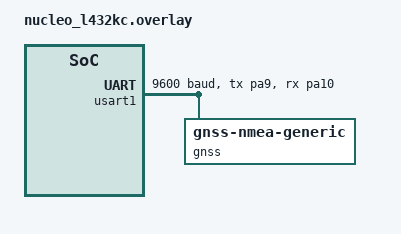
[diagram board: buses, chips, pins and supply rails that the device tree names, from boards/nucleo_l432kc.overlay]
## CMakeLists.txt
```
# SPDX-License-Identifier: Apache-2.0

cmake_minimum_required(VERSION 3.20.0)
find_package(Zephyr REQUIRED HINTS $ENV{ZEPHYR_BASE})
project(passthrough)

target_sources(app PRIVATE 
    src/main.c
    src/gps_config.c
    src/data_handler.c
    src/command_parser.c
)
```

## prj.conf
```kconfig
CONFIG_SERIAL=y
CONFIG_RING_BUFFER=y
CONFIG_UART_INTERRUPT_DRIVEN=y

CONFIG_GNSS=y
CONFIG_GNSS_SATELLITES=y

# Enable FPU
CONFIG_FPU=y
CONFIG_FPU_SHARING=y

CONFIG_CBPRINTF_FP_SUPPORT=y
CONFIG_NEWLIB_LIBC=y
CONFIG_NEWLIB_LIBC_FLOAT_PRINTF=y

# Console configuration
CONFIG_CONSOLE=y
CONFIG_UART_CONSOLE=y
CONFIG_CONSOLE_GETCHAR=y
CONFIG_CONSOLE_PUTCHAR_BUFSIZE=128

# POSIX API
CONFIG_POSIX_API=y



# CONFIG_LOG=y
# CONFIG_LOG_MODE_IMMEDIATE=y
# CONFIG_LOG_MODE_DEFERRED=n
# CONFIG_LOG_BUFFER_SIZE=8192

CONFIG_GNSS_DUMP_TO_LOG=n
CONFIG_GNSS_LOG_LEVEL_DBG=y
# CONFIG_MAIN_STACK_SIZE=4096
```

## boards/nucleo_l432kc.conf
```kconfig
CONFIG_UART_BITBANG=y
```

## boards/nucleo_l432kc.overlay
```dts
/ {
	aliases {
		gnss = &gnss;
        gps-usart = &usart1;
	};
};

&usart1 { 
    pinctrl-0 = <&usart1_tx_pa9 &usart1_rx_pa10>; 
    pinctrl-names = "default"; 
    current-speed = <9600>; 
    status = "okay";
    gnss: gnss {
        compatible = "gnss-nmea-generic";
        status = "okay";

    };
};
```

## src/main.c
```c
#include <zephyr/kernel.h>
#include <zephyr/device.h>
#include <zephyr/drivers/gnss.h>
#include <zephyr/logging/log.h>
#include <stdio.h>

#include "data_handler.h"
#include "gps_config.h"
#include "command_parser.h"

LOG_MODULE_REGISTER(main, LOG_LEVEL_DBG);

static void gnss_data_cb(const struct device *dev, const struct gnss_data *data)
{
    if (data->info.fix_status != GNSS_FIX_STATUS_NO_FIX) {
        // Update GPS data
        struct gps_data g_data = {
            data->nav_data.speed,
            data->nav_data.bearing,
            data->utc.hour,
            data->utc.minute,
            data->utc.millisecond,
            data->nav_data.latitude,
            data->nav_data.longitude,
            true,
            true
        };
        set_gps_data(g_data);
        
        // Stream if enabled
        if (command_parser_is_streaming()) {
            printk("%02u:%02u:%02u.%03u sog: %u.%03u m/s, cog: %u.%03u deg\n",
                    g_data.hour, g_data.minute,
                    g_data.millisecond / 1000, g_data.millisecond % 1000,
                    g_data.sog / 1000, g_data.sog % 1000,
                    g_data.cog / 1000, g_data.cog % 1000);
        }
    }
}

GNSS_DATA_CALLBACK_DEFINE(DEVICE_DT_GET(DT_ALIAS(gnss)), gnss_data_cb);

int main(void)
{
    LOG_INF("GPS Application Starting");
    
    // Initialize command parser
    command_parser_init();
    
    // Default GPS to 5Hz
    k_sleep(K_SECONDS(1));
    gps_enable_standard_messages();

    invalidate_sensor_data();
    
    // Main loop - can add other tasks here
    while (1) {
        k_sleep(K_FOREVER);
    }
    
    return 0;
}
```

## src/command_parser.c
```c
#include "command_parser.h"
#include "gps_config.h"
#include "data_handler.h"
#include <zephyr/kernel.h>
#include <zephyr/device.h>
#include <zephyr/drivers/uart.h>
#include <zephyr/devicetree.h>
#include <string.h>
#include <stdlib.h>
#include <stdio.h>

static bool stream_enabled = false;
static K_MUTEX_DEFINE(stream_mutex);

void command_parser_set_streaming(bool enable)
{
    k_mutex_lock(&stream_mutex, K_FOREVER);
    stream_enabled = enable;
    k_mutex_unlock(&stream_mutex);
}

bool command_parser_is_streaming(void)
{
    bool enabled;
    k_mutex_lock(&stream_mutex, K_FOREVER);
    enabled = stream_enabled;
    k_mutex_unlock(&stream_mutex);
    return enabled;
}

static void process_command(char *cmd)
{
    // Trim trailing whitespace/newline
    int len = strlen(cmd);
    while (len > 0 && (cmd[len-1] == '\n' || cmd[len-1] == '\r' || cmd[len-1] == ' ')) {
        cmd[len-1] = '\0';
        len--;
    }
    
    if (len == 0) {
        return;
    }
    
    // Parse "gps refresh <rate>"
    if (strncmp(cmd, "gps refresh ", 12) == 0) {
        int rate = atoi(cmd + 12);
        if (rate == 1 || rate == 5 || rate == 10) {
            gps_set_refresh_rate(rate);
        } else {
            printk("Error: Invalid rate '%d'. Use: gps refresh <1|5|10>\n", rate);
        }
    }
    // Parse "gps save"
    else if (strcmp(cmd, "gps save") == 0) {
        gps_save_config();
    }
    // Parse "stream on"
    else if (strcmp(cmd, "stream on") == 0) {
        command_parser_set_streaming(true);
        printk("GPS streaming enabled\n");
    }
    // Parse "stream off"
    else if (strcmp(cmd, "stream off") == 0) {
        command_parser_set_streaming(false);
        printk("GPS streaming disabled\n");
    }
    // Parse "help"
    else if (strcmp(cmd, "help") == 0) {
        printk("\nAvailable commands:\n");
        printk("  gps refresh <1|5|10>  - Set GPS update rate (Hz)\n");
        printk("  gps save              - Save GPS config to flash\n");
        printk("  stream on             - Enable GPS data streaming\n");
        printk("  stream off            - Disable GPS data streaming\n");
        printk("  help                  - Show this help\n\n");
    }
    // Unknown command
    else {
        printk("Unknown command: '%s'\n", cmd);
        printk("Type 'help' for available commands\n");
    }
}

static void command_thread(void)
{
    char line[128];
    int idx = 0;
    uint8_t c;
    
    const struct device *console = DEVICE_DT_GET(DT_CHOSEN(zephyr_console));
    
    if (!device_is_ready(console)) {
        printk("ERROR: Console device not ready!\n");
        return;
    }
    
    k_sleep(K_MSEC(500));
    
    printk("\n\n=================================\n");
    printk("GPS Command Interface Ready\n");
    printk("Type 'help' for available commands\n");
    printk("=================================\n");
    printk("> ");
    
    while (1) {
        if (uart_poll_in(console, &c) == 0) {
            if (c == '\n' || c == '\r') {
                printk("\n");
                line[idx] = '\0';
                
                if (idx > 0) {
                    process_command(line);
                }
                
                idx = 0;
                printk("> ");
            }
            else if (c == '\b' || c == 127) {
                if (idx > 0) {
                    idx--;
                    printk("\b \b");
                }
            }
            else if (idx < sizeof(line) - 1 && c >= 32 && c <= 126) {
                line[idx++] = c;
                printk("%c", c);
            }
        } else {
            k_msleep(10);
        }
    }
}

K_THREAD_DEFINE(cmd_thread_id, 1024, command_thread, NULL, NULL, NULL, 7, 0, 0);

void command_parser_init(void) {}
```

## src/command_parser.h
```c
#ifndef COMMAND_PARSER_H
#define COMMAND_PARSER_H

#include <stdbool.h>

// Initialize command parser (starts thread)
void command_parser_init(void);

// Enable/disable GPS streaming
void command_parser_set_streaming(bool enable);

// Check if streaming is enabled
bool command_parser_is_streaming(void);

#endif // COMMAND_PARSER_H
```

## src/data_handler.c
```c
#include "data_handler.h"
#include <string.h>
#include <zephyr/logging/log.h>

LOG_MODULE_REGISTER(gps_data, LOG_LEVEL_DBG);

// Message queue for SD card logging
K_MSGQ_DEFINE(sensor_data_msgq, sizeof(struct sensor_data), 10, 4);

// Current GPS state
// static struct gps_data gps_data = {0};
// static struct acc_data acc_data = {0};
// static struct compass_data compass_data = {0};
static struct sensor_data sensor_data = {0};


static K_MUTEX_DEFINE(gps_data_mutex);
static K_MUTEX_DEFINE(acc_data_mutex);
static K_MUTEX_DEFINE(compass_data_mutex);


void add_to_msgq(){
    if (sensor_data.gps_data.new && sensor_data.compass_data.new && sensor_data.acc_data.new){
        if (k_msgq_put(&sensor_data_msgq, &sensor_data, K_NO_WAIT) != 0) {
            LOG_WRN("SD card queue full");
        }
        else{
            sensor_data.gps_data.new = false;
            sensor_data.compass_data.new = false;
            sensor_data.acc_data.new = false;
        }
    }
}


void set_gps_data(struct gps_data source)
{
    // Update displayed data
    k_mutex_lock(&gps_data_mutex, K_FOREVER);
    sensor_data.gps_data = source;
    k_mutex_unlock(&gps_data_mutex);
    add_to_msgq();

}


bool get_gps_data(struct gps_data *dest){
    k_mutex_lock(&gps_data_mutex, K_FOREVER);
    if (sensor_data.gps_data.valid) {
        memcpy(dest, &sensor_data.gps_data, sizeof(struct gps_data));
        k_mutex_unlock(&gps_data_mutex);
        return true;
    }
    k_mutex_unlock(&gps_data_mutex);
    return false;
}


void set_acc_data(struct acc_data source)
{
    // Update displayed data
    k_mutex_lock(&acc_data_mutex, K_FOREVER);
    sensor_data.acc_data = source;
    k_mutex_unlock(&acc_data_mutex);
    add_to_msgq();

}


bool get_acc_data(struct acc_data *dest){
    k_mutex_lock(&acc_data_mutex, K_FOREVER);
    if (sensor_data.acc_data.valid) {
        memcpy(dest, &sensor_data.acc_data, sizeof(struct acc_data));
        k_mutex_unlock(&acc_data_mutex);
        return true;
    }
    k_mutex_unlock(&acc_data_mutex);
    return false;
}


void set_compass_data(struct compass_data source)
{
    // Update displayed data
    k_mutex_lock(&compass_data_mutex, K_FOREVER);
    sensor_data.compass_data = source;
    k_mutex_unlock(&compass_data_mutex);
    add_to_msgq();
}


bool get_compass_data(struct compass_data *dest){
    k_mutex_lock(&compass_data_mutex, K_FOREVER);
    if (sensor_data.compass_data.valid) {
        memcpy(dest, &sensor_data.compass_data, sizeof(struct compass_data));
        k_mutex_unlock(&compass_data_mutex);
        return true;
    }
    k_mutex_unlock(&compass_data_mutex);
    return false;
}


void invalidate_sensor_data(){
    sensor_data.acc_data.valid = false;
    sensor_data.acc_data.new = false;

    sensor_data.compass_data.valid = false;
    sensor_data.compass_data.new = false;

    sensor_data.gps_data.valid = false;
    sensor_data.gps_data.new = false;

    sensor_data.new = false;
}
```

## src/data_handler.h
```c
#ifndef DATA_HANDLER_H
#define DATA_HANDLER_H

#include <zephyr/kernel.h>
#include <stdbool.h>
#include <stdint.h>

struct gps_data{
    uint32_t sog;
    uint32_t cog;
    uint8_t hour;
    uint8_t minute;
    uint16_t millisecond;
    uint32_t latitude;
    uint32_t longitude;
    bool new;
    bool valid;
};

struct compass_data{
    uint32_t heading;
    bool new;
    bool valid;
};

struct acc_data{
    uint32_t roll;
    uint32_t pitch;
    bool new;
    bool valid;
};

struct sensor_data{
    struct gps_data gps_data;
    struct compass_data compass_data;
    struct acc_data acc_data;
    bool new;
};

extern struct k_msgq sensor_data_msgq;

bool get_gps_data(struct gps_data *dest);
void set_gps_data(struct gps_data source);

bool get_acc_data(struct acc_data *dest);
void set_acc_data(struct acc_data source);

bool get_compass_data(struct compass_data *dest);
void set_compass_data(struct compass_data source);

void get_sensors_data(struct sensor_data *dest);
void invalidate_sensor_data();

#endif // DATA_HANDLER_H
```

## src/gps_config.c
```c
#include "gps_config.h"
#include <zephyr/kernel.h>
#include <zephyr/device.h>
#include <zephyr/drivers/uart.h>
#include <zephyr/devicetree.h>
#include <stdio.h>

// UBX command definitions
static const uint8_t ubx_set_1hz[] = {
    0xB5, 0x62, 0x06, 0x08, 0x06, 0x00,
    0xE8, 0x03, 0x01, 0x00, 0x01, 0x00,
    0x01, 0x39
};

static const uint8_t ubx_set_5hz[] = {
    0xB5, 0x62, 0x06, 0x08, 0x06, 0x00,
    0xC8, 0x00, 0x01, 0x00, 0x01, 0x00,
    0xDE, 0x6A
};

static const uint8_t ubx_set_10hz[] = {
    0xB5, 0x62, 0x06, 0x08, 0x06, 0x00,
    0x64, 0x00, 0x01, 0x00, 0x01, 0x00,
    0x79, 0x10
};

static const uint8_t ubx_save_config[] = {
    0xB5, 0x62, 0x06, 0x09, 0x0D, 0x00,
    0x00, 0x00, 0x00, 0x00,
    0xFF, 0xFF, 0x00, 0x00,
    0x00, 0x00, 0x00, 0x00,
    0x17, 0x31, 0xBF
};

void gps_set_refresh_rate(int hz)
{
    const struct device *uart = DEVICE_DT_GET(DT_ALIAS(gps_usart));
    
    if (!device_is_ready(uart)) {
        printk("Error: GPS UART not ready\n");
        return;
    }
    
    const uint8_t *cmd;
    size_t cmd_len;
    
    switch(hz) {
        case 1:
            cmd = ubx_set_1hz;
            cmd_len = sizeof(ubx_set_1hz);
            break;
        case 5:
            cmd = ubx_set_5hz;
            cmd_len = sizeof(ubx_set_5hz);
            break;
        case 10:
            cmd = ubx_set_10hz;
            cmd_len = sizeof(ubx_set_10hz);
            break;
        default:
            printk("Error: Invalid refresh rate. Use 1, 5, or 10\n");
            return;
    }
    
    printk("Setting GPS refresh rate to %dHz...\n", hz);
    
    for (int i = 0; i < cmd_len; i++) {
        uart_poll_out(uart, cmd[i]);
    }
    
    k_sleep(K_MSEC(100));
    printk("GPS refresh rate set to %dHz\n", hz);
}

void gps_save_config(void)
{
    const struct device *uart = DEVICE_DT_GET(DT_ALIAS(gps_usart));
    
    if (!device_is_ready(uart)) {
        printk("Error: GPS UART not ready\n");
        return;
    }
    
    printk("Saving GPS configuration to flash...\n");
    
    for (int i = 0; i < sizeof(ubx_save_config); i++) {
        uart_poll_out(uart, ubx_save_config[i]);
    }
    
    k_sleep(K_MSEC(500));
    printk("GPS configuration saved\n");
}

// Helper function to calculate UBX checksum
static void ubx_add_checksum(uint8_t *msg, int len)
{
    uint8_t ck_a = 0, ck_b = 0;
    
    // Calculate checksum over message (skip sync chars and checksum bytes)
    for (int i = 2; i < len - 2; i++) {
        ck_a += msg[i];
        ck_b += ck_a;
    }
    
    msg[len - 2] = ck_a;
    msg[len - 1] = ck_b;
}

// UBX-CFG-MSG: Configure message rate for a specific NMEA sentence
// Format: B5 62 06 01 08 00 [CLASS] [ID] [rates for 6 ports] [checksum]
static void gps_set_message_rate(uint8_t msg_class, uint8_t msg_id, uint8_t rate)
{
    const struct device *uart = DEVICE_DT_GET(DT_ALIAS(gps_usart));
    
    if (!device_is_ready(uart)) {
        printk("Error: GPS UART not ready\n");
        return;
    }
    
    uint8_t cmd[] = {
        0xB5, 0x62,     // Header
        0x06, 0x01,     // Class CFG, ID MSG
        0x08, 0x00,     // Length (8 bytes)
        msg_class,      // Message class
        msg_id,         // Message ID
        0x00,           // Rate on I2C
        rate,           // Rate on UART1 (0 = off, 1 = every solution)
        0x00,           // Rate on UART2
        0x00,           // Rate on USB
        0x00,           // Rate on SPI
        0x00,           // Reserved
        0x00, 0x00      // Checksum (will be calculated)
    };
    
    ubx_add_checksum(cmd, sizeof(cmd));
    
    for (int i = 0; i < sizeof(cmd); i++) {
        uart_poll_out(uart, cmd[i]);
    }
    
    k_sleep(K_MSEC(50));
}

// NMEA message classes and IDs
#define NMEA_CLASS 0xF0

#define NMEA_GGA 0x00  // GPS fix data
#define NMEA_GLL 0x01  // Geographic position
#define NMEA_GSA 0x02  // GPS DOP and active satellites
#define NMEA_GSV 0x03  // GPS satellites in view
#define NMEA_RMC 0x04  // Recommended minimum data
#define NMEA_VTG 0x05  // Course over ground and ground speed
#define NMEA_GRS 0x06  // GPS range residuals
#define NMEA_GST 0x07  // GPS pseudorange error statistics
#define NMEA_ZDA 0x08  // Time and date
#define NMEA_GBS 0x09  // GPS satellite fault detection
#define NMEA_DTM 0x0A  // Datum reference
#define NMEA_GNS 0x0D  // GNSS fix data
#define NMEA_THS 0x0E  // True heading and status
#define NMEA_VLW 0x0F  // Dual ground/water distance

// Preset configurations
void gps_disable_all_messages(void)
{
    printk("Disabling all NMEA messages...\n");
    
    gps_set_message_rate(NMEA_CLASS, NMEA_GGA, 0);
    gps_set_message_rate(NMEA_CLASS, NMEA_GLL, 0);
    gps_set_message_rate(NMEA_CLASS, NMEA_GSA, 0);
    gps_set_message_rate(NMEA_CLASS, NMEA_GSV, 0);
    gps_set_message_rate(NMEA_CLASS, NMEA_RMC, 0);
    gps_set_message_rate(NMEA_CLASS, NMEA_VTG, 0);
    gps_set_message_rate(NMEA_CLASS, NMEA_GRS, 0);
    gps_set_message_rate(NMEA_CLASS, NMEA_GST, 0);
    gps_set_message_rate(NMEA_CLASS, NMEA_ZDA, 0);
    gps_set_message_rate(NMEA_CLASS, NMEA_GBS, 0);
    gps_set_message_rate(NMEA_CLASS, NMEA_DTM, 0);
    
    printk("All NMEA messages disabled\n");
}

void gps_enable_minimal_messages(void)
{
    printk("Enabling minimal NMEA messages (RMC only)...\n");
    
    // Disable all
    gps_disable_all_messages();
    
    // Enable only RMC (recommended minimum - has position, speed, time)
    gps_set_message_rate(NMEA_CLASS, NMEA_RMC, 1);
    
    printk("Minimal messages enabled (RMC)\n");
}

void gps_enable_standard_messages(void)
{
    printk("Enabling standard NMEA messages...\n");
    
    // Disable all first
    gps_disable_all_messages();
    
    // Enable common messages
    gps_set_message_rate(NMEA_CLASS, NMEA_GGA, 1);  // Position fix
    gps_set_message_rate(NMEA_CLASS, NMEA_RMC, 1);  // Recommended minimum
    gps_set_message_rate(NMEA_CLASS, NMEA_VTG, 1);  // Speed/course
    
    printk("Standard messages enabled (GGA, RMC, VTG)\n");
}

void gps_enable_all_messages(void)
{
    printk("Enabling all NMEA messages...\n");
    
    gps_set_message_rate(NMEA_CLASS, NMEA_GGA, 1);
    gps_set_message_rate(NMEA_CLASS, NMEA_GLL, 1);
    gps_set_message_rate(NMEA_CLASS, NMEA_GSA, 1);
    gps_set_message_rate(NMEA_CLASS, NMEA_GSV, 1);
    gps_set_message_rate(NMEA_CLASS, NMEA_RMC, 1);
    gps_set_message_rate(NMEA_CLASS, NMEA_VTG, 1);
    
    printk("All main NMEA messages enabled\n");
}

// Individual message control
void gps_set_gga(bool enable) { 
    gps_set_message_rate(NMEA_CLASS, NMEA_GGA, enable ? 1 : 0); 
}

void gps_set_rmc(bool enable) { 
    gps_set_message_rate(NMEA_CLASS, NMEA_RMC, enable ? 1 : 0); 
}

void gps_set_vtg(bool enable) { 
    gps_set_message_rate(NMEA_CLASS, NMEA_VTG, enable ? 1 : 0); 
}

void gps_set_gsa(bool enable) { 
    gps_set_message_rate(NMEA_CLASS, NMEA_GSA, enable ? 1 : 0); 
}

void gps_set_gsv(bool enable) { 
    gps_set_message_rate(NMEA_CLASS, NMEA_GSV, enable ? 1 : 0); 
}

void gps_set_gll(bool enable) { 
    gps_set_message_rate(NMEA_CLASS, NMEA_GLL, enable ? 1 : 0); 
}

// Set UART baud rate to 38400
static const uint8_t ubx_set_baud_38400[] = {
    0xB5, 0x62,     // Header
    0x06, 0x00,     // Class CFG, ID PRT (port config)
    0x14, 0x00,     // Length (20 bytes)
    0x01,           // Port ID (UART1)
    0x00,           // Reserved
    0x00, 0x00,     // txReady (disabled)
    0xD0, 0x08, 0x00, 0x00,  // Mode (8N1)
    0x00, 0x96, 0x00, 0x00,  // Baud rate: 38400 (0x9600 in little-endian)
    0x07, 0x00,     // Input protocols (UBX + NMEA + RTCM)
    0x03, 0x00,     // Output protocols (UBX + NMEA)
    0x00, 0x00,     // Flags
    0x00, 0x00,     // Reserved
    0x97, 0x6F      // Checksum
};

void gps_set_baud_38400(void)
{
    const struct device *uart = DEVICE_DT_GET(DT_ALIAS(gps_usart));
    
    if (!device_is_ready(uart)) {
        return;
    }
    
    printk("Setting GPS UART to 38400 baud...\n");
    
    for (int i = 0; i < sizeof(ubx_set_baud_38400); i++) {
        uart_poll_out(uart, ubx_set_baud_38400[i]);
    }
    
    k_sleep(K_MSEC(100));
}
```

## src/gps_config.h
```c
#ifndef GPS_CONFIG_H
#define GPS_CONFIG_H

#include <stdbool.h>

// Refresh rate control
void gps_set_refresh_rate(int hz);
void gps_save_config(void);

// Message configuration presets
void gps_disable_all_messages(void);
void gps_enable_minimal_messages(void);    // RMC only
void gps_enable_standard_messages(void);   // GGA, RMC, VTG
void gps_enable_all_messages(void);

// Individual message control
void gps_set_gga(bool enable);  // GPS fix data
void gps_set_rmc(bool enable);  // Recommended minimum
void gps_set_vtg(bool enable);  // Speed/course
void gps_set_gsa(bool enable);  // Satellites used
void gps_set_gsv(bool enable);  // Satellites in view
void gps_set_gll(bool enable);  // Geographic position

// Sets baud to 38400
void gps_set_baud_38400();      

#endif // GPS_CONFIG_H
```

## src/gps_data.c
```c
#include "gps_data.h"
#include <string.h>
#include <zephyr/logging/log.h>

LOG_MODULE_REGISTER(gps_data, LOG_LEVEL_DBG);

// Message queue for SD card logging
K_MSGQ_DEFINE(sdcard_gps_msgq, sizeof(struct sdcard_gps_data), 10, 4);

// Current GPS state
static struct display_gps_data gps_data = {0};
static K_MUTEX_DEFINE(gps_data_mutex);

bool display_gps_get_current(struct display_gps_data *dest)
{
    k_mutex_lock(&gps_data_mutex, K_FOREVER);
    if (gps_data.valid) {
        memcpy(dest, &gps_data, sizeof(struct display_gps_data));
        k_mutex_unlock(&gps_data_mutex);
        return true;
    }
    k_mutex_unlock(&gps_data_mutex);
    return false;
}

void gps_data_update(uint32_t sog, uint32_t cog, uint8_t hour, uint8_t minute,
                     uint16_t millisecond, uint32_t latitude, uint32_t longitude)
{
    // Update displayed data
    k_mutex_lock(&gps_data_mutex, K_FOREVER);
    gps_data.sog = sog;
    gps_data.cog = cog;
    gps_data.hour = hour;
    gps_data.minute = minute;
    gps_data.millisecond = millisecond;
    gps_data.valid = true;
    k_mutex_unlock(&gps_data_mutex);

    // Add to queue for SD card logging
    struct sdcard_gps_data sdcard_msg = {
        .sog = sog,
        .cog = cog,
        .hour = hour,
        .minute = minute,
        .millisecond = millisecond,
        .latitude = latitude,
        .longitude = longitude
    };
    
    if (k_msgq_put(&sdcard_gps_msgq, &sdcard_msg, K_NO_WAIT) != 0) {
        LOG_WRN("SD card queue full");
    }
}
```

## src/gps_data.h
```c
#ifndef GPS_DATA_H
#define GPS_DATA_H

#include <zephyr/kernel.h>
#include <stdbool.h>
#include <stdint.h>

// GPS data structure for SD card logging
struct sdcard_gps_data {
    uint32_t sog;
    uint32_t cog;
    uint8_t hour;
    uint8_t minute;
    uint16_t millisecond;
    uint32_t latitude;
    uint32_t longitude;
};

// GPS data structure for display
struct display_gps_data {
    uint32_t sog;
    uint32_t cog;
    uint8_t hour;
    uint8_t minute;
    uint16_t millisecond;
    bool valid;
};

// External access to message queue
extern struct k_msgq sdcard_gps_msgq;

// Functions
bool display_gps_get_current(struct display_gps_data *dest);
void gps_data_update(uint32_t sog, uint32_t cog, uint8_t hour, uint8_t minute, 
                     uint16_t millisecond, uint32_t latitude, uint32_t longitude);

#endif // GPS_DATA_H
```
